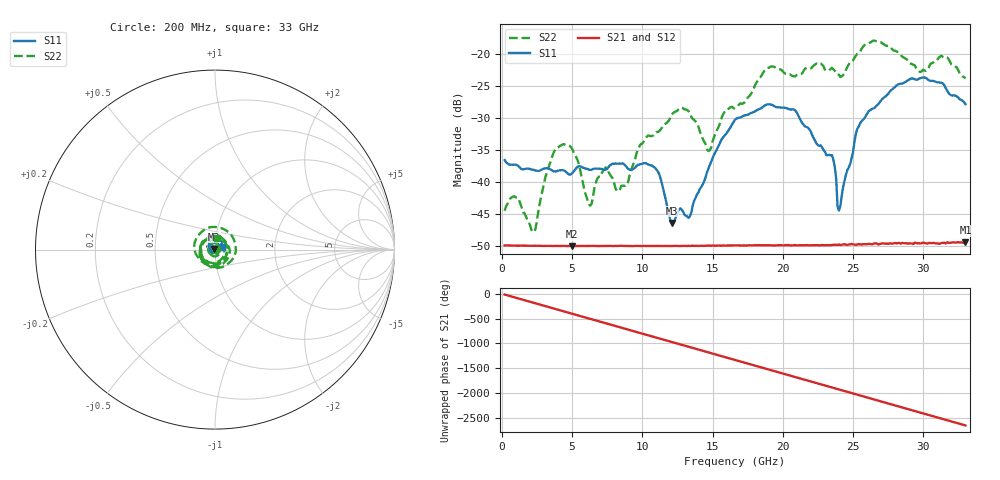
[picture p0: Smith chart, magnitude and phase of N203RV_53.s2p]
# GHZ S RI R 50
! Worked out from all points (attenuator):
!   329 points, 200 MHz to 33 GHz, reference 50 ohm
!   highest |S21| = -49.46 dB at 33 GHz (marker M1); lowest = -50.1 dB at 5 GHz (marker M2)
!   lowest |S11| = -46.4 dB at 12.1 GHz (marker M3), VSWR 1.01, Z = 49.6 + j0.294 ohm
!   |S11| at or under -10 dB: start of sweep to end of sweep
!   |S22| runs from -47.9 to -17.9 dB; largest |S21 - S12| = 7.2e-05
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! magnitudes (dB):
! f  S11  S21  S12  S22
! 200 MHz  -36.6  -50.0  -49.9  -44.5
! 1.1 GHz  -37.4  -50.0  -50.0  -42.5
! 2.3 GHz  -38.2  -50.0  -50.0  -47.9
! 3.7 GHz  -38.4  -50.0  -50.0  -35.4
! 5 GHz  -38.7  -50.1  -50.1  -34.8
! 5.7 GHz  -37.7  -50.0  -50.0  -39.4
! 6.3 GHz  -38.1  -50.1  -50.0  -43.7
! 7.4 GHz  -38.1  -50.1  -50.1  -37.7
! 8.3 GHz  -37.2  -50.0  -50.0  -41.5
! 11.2 GHz  -38.8  -50.0  -50.0  -32.1
! 12.1 GHz  -46.4  -50.1  -50.0  -29.5
! 13.4 GHz  -45.4  -50.0  -50.0  -29.3
! 14.7 GHz  -38.0  -50.0  -50.0  -35.2
! 16.6 GHz  -30.3  -50.0  -49.9  -28.5
! 18.9 GHz  -27.9  -49.9  -49.9  -22.2
! 22.1 GHz  -32.7  -49.9  -49.9  -22.0
! 23.5 GHz  -35.8  -49.9  -49.9  -22.1
! 24 GHz  -44.5  -49.8  -49.9  -23.2
! 25.3 GHz  -31.7  -49.8  -49.8  -20.0
! 27.6 GHz  -25.9  -49.6  -49.7  -18.8
! 30.1 GHz  -23.7  -49.6  -49.6  -22.6
! 33 GHz  -27.8  -49.5  -49.5  -23.8
